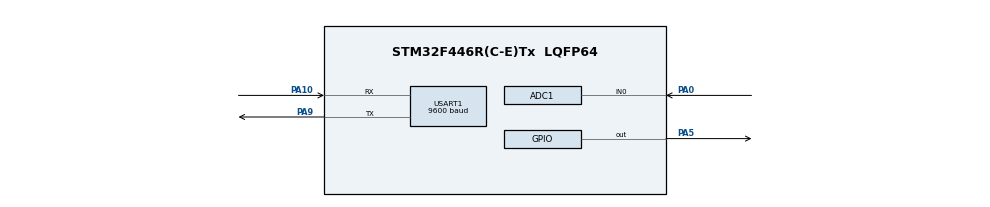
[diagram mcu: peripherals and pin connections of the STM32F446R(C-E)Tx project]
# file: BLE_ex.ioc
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ADC1.Channel-1\#ChannelRegularConversion=ADC_CHANNEL_0
ADC1.ContinuousConvMode=ENABLE
ADC1.NbrOfConversionFlag=1
ADC1.Rank-1\#ChannelRegularConversion=1
ADC1.SamplingTime-1\#ChannelRegularConversion=ADC_SAMPLETIME_480CYCLES
ADC1.ScanConvMode=DISABLE
ADC1.master=1
Mcu.Family=STM32F4
Mcu.Name=STM32F446R(C-E)Tx
Mcu.Package=LQFP64
NVIC.PriorityGroup=NVIC_PRIORITYGROUP_4
PA0-WKUP.Signal=ADCx_IN0
PA10.Mode=Asynchronous
PA10.Signal=USART1_RX
PA13.Mode=Serial_Wire
PA13.Signal=SYS_JTMS-SWDIO
PA14.Mode=Serial_Wire
PA14.Signal=SYS_JTCK-SWCLK
PA5.Signal=GPIO_Output
PA9.Mode=Asynchronous
PA9.Signal=USART1_TX
ProjectManager.HeapSize=0x200
ProjectManager.StackSize=0x400
ProjectManager.TargetToolchain=CMake
RCC.CortexFreq_Value=16000000
RCC.USBFreq_Value=96000000
RCC.VCOOutputFreq_Value=192000000
SH.ADCx_IN0.0=ADC1_IN0,IN0
USART1.BaudRate=9600
USART1.VirtualMode=VM_ASYNC
board=custom

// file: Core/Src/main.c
/* USER CODE BEGIN Header */
/**
 ******************************************************************************
 * @file           : main.c
 * @brief          : Main program body
 ******************************************************************************
 * @attention
 *
 * Copyright (c) 2025 STMicroelectronics.
 * All rights reserved.
 *
 * This software is licensed under terms that can be found in the LICENSE file
 * in the root directory of this software component.
 * If no LICENSE file comes with this software, it is provided AS-IS.
 *
 ******************************************************************************
 */
/* USER CODE END Header */
#include "main.h"

/* USER CODE BEGIN Includes */
#include <stdio.h>
/* USER CODE END Includes */

ADC_HandleTypeDef hadc1;

UART_HandleTypeDef huart1;

void SystemClock_Config(void);
static void MX_GPIO_Init(void);
static void MX_USART1_UART_Init(void);
static void MX_ADC1_Init(void);

/* USER CODE BEGIN 0 */

#define ADC_FS   4095.0f   // 12-bit
#define VREF     3.3f      // ADC 참조(=VDDA)
#define VCC      3.3f      // 분배기 전원 (VREF와 같게 권장)
#define R_FIX    10000.0f  // 10kΩ
#define NAN      -1
typedef struct {
    float A;      // R = A * Lux^(-gamma) 의 A
    float gamma;  // gamma (>0)
} LDRCal;

/* --- 1) ADC -> 전압 --- */
static inline float adc_to_v(float adc_raw) {
    float v = (adc_raw / ADC_FS) * VREF;
    return v;
}

/* --- 2) 전압 -> R_LDR (케이스 A) ---
   R_LDR = R_FIX * (VCC - Vadc) / Vadc
*/
static inline float v_to_r_ldr_caseA(float v_adc) {
    const float eps = 1e-4f;
    if (v_adc < eps) v_adc = eps;
    if (v_adc > (VCC - eps)) v_adc = (VCC - eps);
    return R_FIX * (VCC - v_adc) / v_adc;
}

/* --- 3) R_LDR -> Lux (보정값 필요) ---
   Lux = (A / R)^(1/gamma)
*/
static inline float r_to_lux(float r_ldr, LDRCal c) {
    if (r_ldr <= 0.0f || c.A <= 0.0f || c.gamma <= 0.0f) return NAN;
    return powf((c.A / r_ldr), (1.0f / c.gamma));
}

/* --- (옵션) 두 점으로 보정 파라미터 구하기 ---
   입력: (L1, L2) [lux], (N1, N2) [ADC]  ->  보정값 A, gamma 반환
*/
static inline LDRCal calibrate_two_points(float L1, float N1, float L2, float N2) {
    // 1) N -> V -> R
    float V1 = adc_to_v(N1), V2 = adc_to_v(N2);
    float R1 = v_to_r_ldr_caseA(V1), R2 = v_to_r_ldr_caseA(V2);

    // 2) gamma, A
    LDRCal c = { .A = NAN, .gamma = NAN };
    if (L1 > 0 && L2 > 0 && R1 > 0 && R2 > 0 && L1 != L2) {
        float g = (logf(R1) - logf(R2)) / (logf(L2) - logf(L1)); // gamma
        float A = R1 * powf(L1, g);
        c.A = A; c.gamma = g;
    }
    return c;
}

/* --- 런타임 변환: ADC 읽고 Lux/밝기(0~1) 계산 --- */
typedef struct {
    float v_adc;      // [V]
    float r_ldr;      // [ohm]
    float brightness; // 0~1 (케이스 A: Vadc/Vcc)
    float lux;        // 보정값 있을 때만 유효
} Brightness;

Brightness convert_from_adc(uint16_t adc_raw, const LDRCal* cal_opt) {
    Brightness out;
    out.v_adc = adc_to_v(adc_raw);
    out.r_ldr = v_to_r_ldr_caseA(out.v_adc);
    // 케이스 A는 전압이 곧 밝기 비율
    float b = out.v_adc / VCC;
    if (b < 0) b = 0; if (b > 1) b = 1;
    out.brightness = b;
    out.lux = (cal_opt) ? r_to_lux(out.r_ldr, *cal_opt) : NAN;
    return out;
}
/* USER CODE END 0 */

int main(void) {

  /* MCU Configuration--------------------------------------------------------*/

  /* Reset of all peripherals, Initializes the Flash interface and the Systick.
   */
  HAL_Init();

  /* Configure the system clock */
  SystemClock_Config();

  /* Initialize all configured peripherals */
  MX_GPIO_Init();
  MX_USART1_UART_Init();
  MX_ADC1_Init();

  /* Infinite loop */
  while (1) {

    /* USER CODE BEGIN 3 */
    HAL_ADC_Start(&hadc1);
    HAL_ADC_PollForConversion(&hadc1, 10);
    volatile uint32_t adc_value = HAL_ADC_GetValue(&hadc1);
    // 1) (권장) 먼저 보정
    // 예: L1=100 lux에서 N1 측정, L2=1000 lux에서 N2 측정 후:
    LDRCal cal = calibrate_two_points(10.0f, 1000, 88.0f, 2200);

    // 2) 평소 변환
    uint16_t raw = adc_value; // DMA 평균값 권장
    Brightness br = convert_from_adc(raw, &cal);
    // br.brightness: 0~1 (상대 밝기), br.lux: 보정했을 때만 유효
    char str[256];
    int len = sprintf(str, "%d\r\n", (int32_t)(br.lux * 1000 + 0.5f)/ 1000);
    HAL_UART_Transmit(&huart1, str, len, 0xff);
  }
  /* USER CODE END 3 */
}

void SystemClock_Config(void) {
  RCC_OscInitTypeDef RCC_OscInitStruct = {0};
  RCC_ClkInitTypeDef RCC_ClkInitStruct = {0};

  /** Configure the main internal regulator output voltage
   */
  __HAL_RCC_PWR_CLK_ENABLE();
  __HAL_PWR_VOLTAGESCALING_CONFIG(PWR_REGULATOR_VOLTAGE_SCALE3);

  /** Initializes the RCC Oscillators according to the specified parameters
   * in the RCC_OscInitTypeDef structure.
   */
  RCC_OscInitStruct.OscillatorType = RCC_OSCILLATORTYPE_HSI;
  RCC_OscInitStruct.HSIState = RCC_HSI_ON;
  RCC_OscInitStruct.HSICalibrationValue = RCC_HSICALIBRATION_DEFAULT;
  RCC_OscInitStruct.PLL.PLLState = RCC_PLL_NONE;
  if (HAL_RCC_OscConfig(&RCC_OscInitStruct) != HAL_OK) {
    Error_Handler();
  }

  /** Initializes the CPU, AHB and APB buses clocks
   */
  RCC_ClkInitStruct.ClockType = RCC_CLOCKTYPE_HCLK | RCC_CLOCKTYPE_SYSCLK |
                                RCC_CLOCKTYPE_PCLK1 | RCC_CLOCKTYPE_PCLK2;
  RCC_ClkInitStruct.SYSCLKSource = RCC_SYSCLKSOURCE_HSI;
  RCC_ClkInitStruct.AHBCLKDivider = RCC_SYSCLK_DIV1;
  RCC_ClkInitStruct.APB1CLKDivider = RCC_HCLK_DIV1;
  RCC_ClkInitStruct.APB2CLKDivider = RCC_HCLK_DIV1;

  if (HAL_RCC_ClockConfig(&RCC_ClkInitStruct, FLASH_LATENCY_0) != HAL_OK) {
    Error_Handler();
  }
}

static void MX_ADC1_Init(void) {

  ADC_ChannelConfTypeDef sConfig = {0};

  /** Configure the global features of the ADC (Clock, Resolution, Data
   * Alignment and number of conversion)
   */
  hadc1.Instance = ADC1;
  hadc1.Init.ClockPrescaler = ADC_CLOCK_SYNC_PCLK_DIV2;
  hadc1.Init.Resolution = ADC_RESOLUTION_12B;
  hadc1.Init.ScanConvMode = DISABLE;
  hadc1.Init.ContinuousConvMode = ENABLE;
  hadc1.Init.DiscontinuousConvMode = DISABLE;
  hadc1.Init.ExternalTrigConvEdge = ADC_EXTERNALTRIGCONVEDGE_NONE;
  hadc1.Init.ExternalTrigConv = ADC_SOFTWARE_START;
  hadc1.Init.DataAlign = ADC_DATAALIGN_RIGHT;
  hadc1.Init.NbrOfConversion = 1;
  hadc1.Init.DMAContinuousRequests = DISABLE;
  hadc1.Init.EOCSelection = ADC_EOC_SINGLE_CONV;
  if (HAL_ADC_Init(&hadc1) != HAL_OK) {
    Error_Handler();
  }

  /** Configure for the selected ADC regular channel its corresponding rank in
   * the sequencer and its sample time.
   */
  sConfig.Channel = ADC_CHANNEL_0;
  sConfig.Rank = 1;
  sConfig.SamplingTime = ADC_SAMPLETIME_480CYCLES;
  if (HAL_ADC_ConfigChannel(&hadc1, &sConfig) != HAL_OK) {
    Error_Handler();
  }
}

static void MX_USART1_UART_Init(void) {

  huart1.Instance = USART1;
  huart1.Init.BaudRate = 9600;
  huart1.Init.WordLength = UART_WORDLENGTH_8B;
  huart1.Init.StopBits = UART_STOPBITS_1;
  huart1.Init.Parity = UART_PARITY_NONE;
  huart1.Init.Mode = UART_MODE_TX_RX;
  huart1.Init.HwFlowCtl = UART_HWCONTROL_NONE;
  huart1.Init.OverSampling = UART_OVERSAMPLING_16;
  if (HAL_UART_Init(&huart1) != HAL_OK) {
    Error_Handler();
  }
}

static void MX_GPIO_Init(void) {
  GPIO_InitTypeDef GPIO_InitStruct = {0};

  /* GPIO Ports Clock Enable */
  __HAL_RCC_GPIOA_CLK_ENABLE();

  /*Configure GPIO pin Output Level */
  HAL_GPIO_WritePin(GPIOA, GPIO_PIN_5, GPIO_PIN_RESET);

  /*Configure GPIO pin : PA5 */
  GPIO_InitStruct.Pin = GPIO_PIN_5;
  GPIO_InitStruct.Mode = GPIO_MODE_OUTPUT_PP;
  GPIO_InitStruct.Pull = GPIO_NOPULL;
  GPIO_InitStruct.Speed = GPIO_SPEED_FREQ_LOW;
  HAL_GPIO_Init(GPIOA, &GPIO_InitStruct);

}

void Error_Handler(void) {
  __disable_irq();
  while (1) {
  }
}

#ifdef USE_FULL_ASSERT
/**
 * @brief  Reports the name of the source file and the source line number
 *         where the assert_param error has occurred.
 * @param  file: pointer to the source file name
 * @param  line: assert_param error line source number
 * @retval None
 */
void assert_failed(uint8_t *file, uint32_t line) {
  /* USER CODE BEGIN 6 */
  /* User can add his own implementation to report the file name and line
     number, ex: printf("Wrong parameters value: file %s on line %d\r\n", file,
     line) */
  /* USER CODE END 6 */
}
#endif /* USE_FULL_ASSERT */
